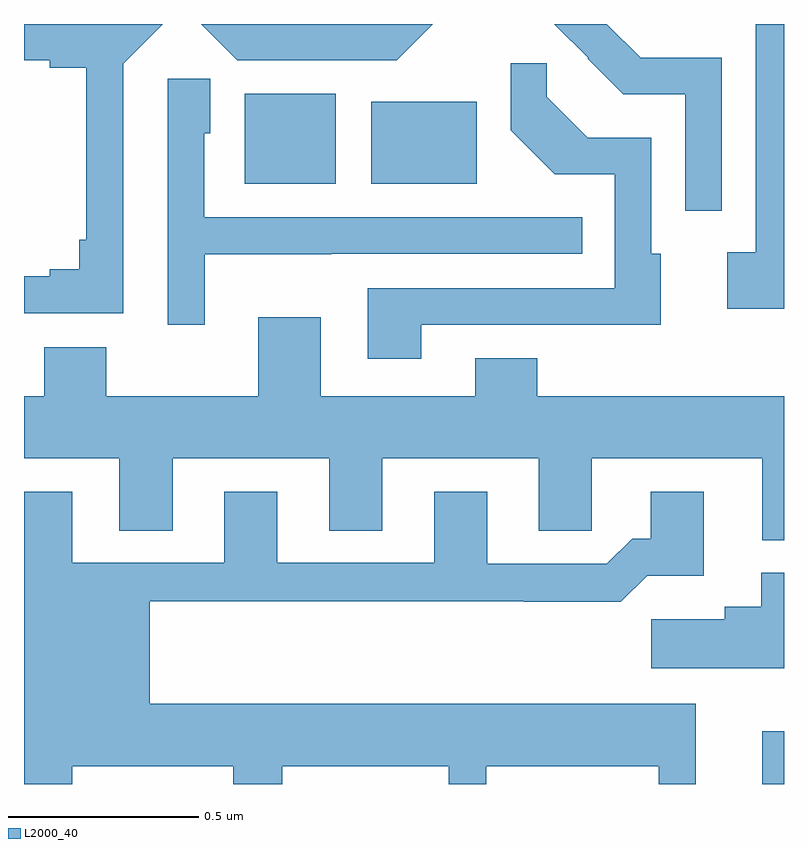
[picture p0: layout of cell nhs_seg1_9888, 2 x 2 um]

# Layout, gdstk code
import gdstk
lib = gdstk.Library(unit=1e-6, precision=1e-09)
def R(c, l, rs):  # rectangles x0, y0, x1, y1
    for r in rs: c.add(gdstk.rectangle(r[:2], r[2:], *l))
def P(c, l, *ps):  # polygons
    for p in ps: c.add(gdstk.Polygon(p, *l))
L2000_40 = (2000, 40)

nhs_seg1_9888 = lib.new_cell('nhs_seg1_9888')
R(nhs_seg1_9888, L2000_40, [(235.943,560.199,236,560.338), (234.581,561.779,234.82,562.015), (234.914,561.779,235.192,561.994)])
P(nhs_seg1_9888, L2000_40, [(235.836,562.11),(235.623,562.11),(235.534,562.199),(235.396,562.199),(235.485,562.11),(235.483,562.108),(235.577,562.014),(235.74,562.014),(235.74,561.708),(235.836,561.708)],
  [(235.076,562.199),(234.466,562.199),(234.561,562.104),(234.981,562.104)],
  [(234.261,562.095),(234.365,562.199),(234,562.199),(234,562.104),(234.068,562.104),(234.068,562.084),(234.164,562.084),(234.164,561.631),(234.145,561.631),(234.145,561.554),(234.068,561.554),(234.068,561.535),(234,561.535),(234,561.438),(234.261,561.438)],
  [(236,562.199),(235.926,562.199),(235.926,561.598),(235.851,561.598),(235.851,561.45),(236,561.45)],
  [(235.045,561.408),(235.457,561.408),(235.457,561.407),(235.675,561.407),(235.675,561.594),(235.65,561.594),(235.65,561.9),(235.484,561.9),(235.376,562.008),(235.376,562.096),(235.281,562.096),(235.281,561.92),(235.397,561.804),(235.554,561.804),(235.554,561.504),(234.905,561.504),(234.905,561.318),(235.045,561.318)],
  [(234.475,561.593),(234.809,561.593),(234.809,561.594),(235.469,561.594),(235.469,561.69),(234.474,561.69),(234.474,561.912),(234.49,561.912),(234.49,562.055),(234.378,562.055),(234.378,561.408),(234.475,561.408)],
  [(236,561.22),(235.351,561.22),(235.351,561.319),(235.187,561.319),(235.187,561.22),(234.781,561.22),(234.781,561.427),(234.617,561.427),(234.617,561.22),(234.217,561.22),(234.217,561.349),(234.053,561.349),(234.053,561.22),(234,561.22),(234,561.056),(234.251,561.056),(234.251,560.866),(234.391,560.866),(234.391,561.056),(234.803,561.056),(234.803,560.866),(234.943,560.866),(234.943,561.056),(235.355,561.056),(235.355,560.866),(235.494,560.866),(235.494,561.056),(235.943,561.056),(235.943,560.84),(236,560.84)],
  [(234.127,560.246),(234.551,560.246),(234.551,560.199),(234.679,560.199),(234.679,560.246),(235.118,560.246),(235.118,560.199),(235.216,560.199),(235.216,560.246),(235.67,560.246),(235.67,560.199),(235.768,560.199),(235.768,560.41),(234.331,560.41),(234.331,560.68),(235.315,560.68),(235.315,560.678),(235.571,560.678),(235.64,560.747),(235.789,560.747),(235.789,560.968),(235.649,560.968),(235.649,560.845),(235.6,560.845),(235.533,560.778),(235.219,560.778),(235.219,560.968),(235.079,560.968),(235.079,560.781),(234.667,560.781),(234.667,560.968),(234.527,560.968),(234.527,560.781),(234.127,560.781),(234.127,560.968),(234,560.968),(234,560.199),(234.127,560.199)],
  [(236,560.755),(235.94,560.755),(235.94,560.665),(235.844,560.665),(235.844,560.633),(235.65,560.633),(235.65,560.504),(236,560.504)])

lib.write_gds('nhs_seg1_9888.gds')
